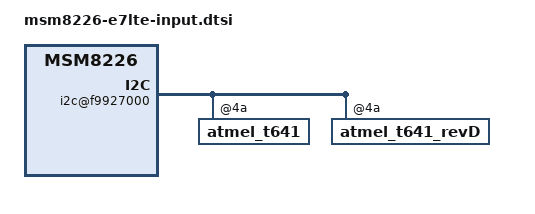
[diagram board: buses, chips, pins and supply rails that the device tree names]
/* Copyright (c) 2013, LGE Electronics. All rights reserved.
 *
 * This program is free software; you can redistribute it and/or modify
 * it under the terms of the GNU General Public License version 2 and
 * only version 2 as published by the Free Software Foundation.
 *
 * This program is distributed in the hope that it will be useful,
 * but WITHOUT ANY WARRANTY; without even the implied warranty of
 * MERCHANTABILITY or FITNESS FOR A PARTICULAR PURPOSE.  See the
 * GNU General Public License for more details.
 */

&soc {
	i2c@f9927000 { /* BLSP1 QUP5 */
		atmel_t641@4a {									/*touch ic I2C bus adddress*/
			revision = "rev_a...rev_b";								/*board version */
		};

		atmel_t641_revD@4a {									/*touch ic I2C bus adddress*/
			revision = "rev_c...";								/*board version */
			atmel,fw_name = "atmel/E7_0_65.fw";
			atmel,extra_fw_name = "atmel/E7_0_65.fw";
		};

	};
};
